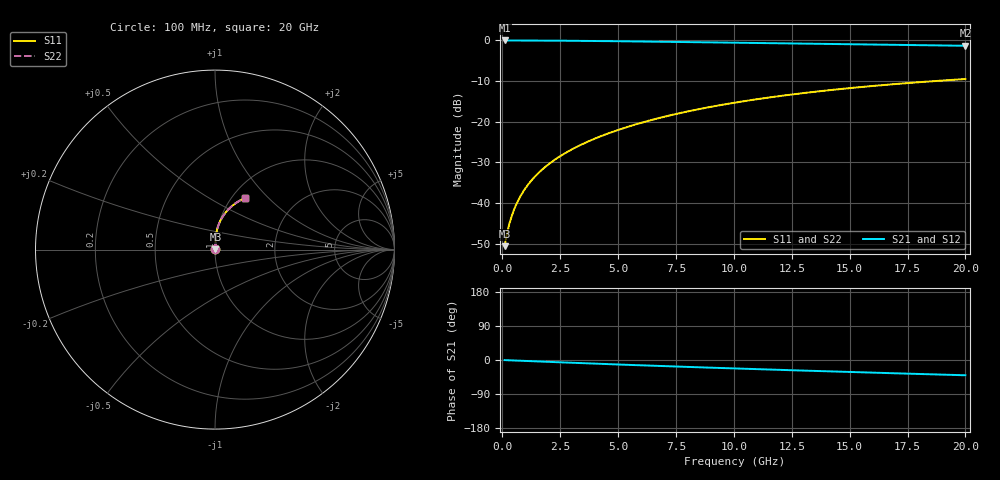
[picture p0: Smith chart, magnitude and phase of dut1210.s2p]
! Touchstone file exported from HFSS 2024.1.0
!  File:  C:/UserFiles/LocalFiles/RDL_TSV_Batchsim/temp_RDL_top_1210_1780239812.aedt
!  Generated:  11:05:59 PM May 31, 2026
!  Design:  RDL_top
!  Project:  temp_RDL_top_1210_1780239812
!  Setup:  Setup1
!  Solution:  Sweep
! Variables:
!  dtsv = 10.80580581um
!  hbump = 3um
!  htsv = 90.83um
!  ldown = 100um
!  lrdl = 578.98um
!  p = 40
!  p1 = 51.75um
!  rhole = 1um
!  t = 450um
!  tdown = 3.915915916um
!  trdl = 3.7um
!  wdown = 15.38538539um
!  wrdl = 25.29um
# GHz S MA R 50.000000
! Terminal data exported
! Port[1] = Box2_T1
! Port[2] = Box2_T2
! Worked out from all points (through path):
!   200 points, 100 MHz to 20 GHz, reference 50 ohm
!   highest |S21| = -0.02 dB at 100 MHz (marker M1); lowest = -1.3 dB at 20 GHz (marker M2)
!   group delay of S21, straight-line fit = 5.53 ps
!   lowest |S11| = -50.6 dB at 100 MHz (marker M3), VSWR 1.01, Z = 50.2 + j0.17 ohm
!   |S11| at or under -10 dB: start of sweep to 18.7 GHz
!   |S22| runs from -50.6 to -9.5 dB; largest |S21 - S12| = 3.3e-15
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0.1  0.002945 35.0  0.9976 -0.3  0.9976 -0.3  0.002945 35.0
! Gamma 0 0 0 0
! Port Impedance 50 0 50 0
0.2  0.00416 51.9  0.9974 -0.5  0.9974 -0.5  0.00416 51.9
0.3  0.005483 60.4  0.9972 -0.8  0.9972 -0.8  0.005482 60.4
0.4  0.006822 65.7  0.997 -1.0  0.997 -1.0  0.006822 65.7
0.5  0.008175 69.4  0.9968 -1.3  0.9968 -1.3  0.008175 69.4
0.6  0.009546 72.2  0.9967 -1.5  0.9967 -1.5  0.009546 72.2
0.8  0.01234 76.1  0.9963 -2.0  0.9963 -2.0  0.01234 76.1
1.1  0.01663 79.7  0.9957 -2.7  0.9957 -2.7  0.01663 79.7
1.3  0.01953 81.3  0.9952 -3.2  0.9952 -3.2  0.01953 81.3
1.6  0.02396 83.0  0.9943 -3.9  0.9943 -3.9  0.02396 82.9
2.1  0.0315 84.7  0.9926 -5.1  0.9926 -5.1  0.0315 84.7
2.7  0.0408 85.8  0.9899 -6.6  0.9899 -6.6  0.0408 85.8
3.5  0.05366 86.5  0.9856 -8.5  0.9856 -8.5  0.05366 86.5
4.2  0.06533 86.5  0.9813 -10.1  0.9813 -10.1  0.06532 86.5
5  0.07911 86.2  0.9758 -11.9  0.9758 -11.9  0.0791 86.1
6.8  0.1114 84.2  0.9623 -15.8  0.9623 -15.8  0.1114 84.2
8.4  0.141 81.7  0.9496 -19.1  0.9496 -19.1  0.141 81.7
10.1  0.1725 78.6  0.936 -22.4  0.936 -22.4  0.1725 78.6
11.7  0.2017 75.5  0.9232 -25.5  0.9232 -25.5  0.2016 75.5
13.4  0.2316 72.1  0.9097 -28.7  0.9097 -28.7  0.2316 72.1
16.7  0.2861 65.6  0.8837 -34.6  0.8837 -34.6  0.286 65.6
20  0.3347 59.5  0.8582 -40.3  0.8582 -40.3  0.3346 59.5
